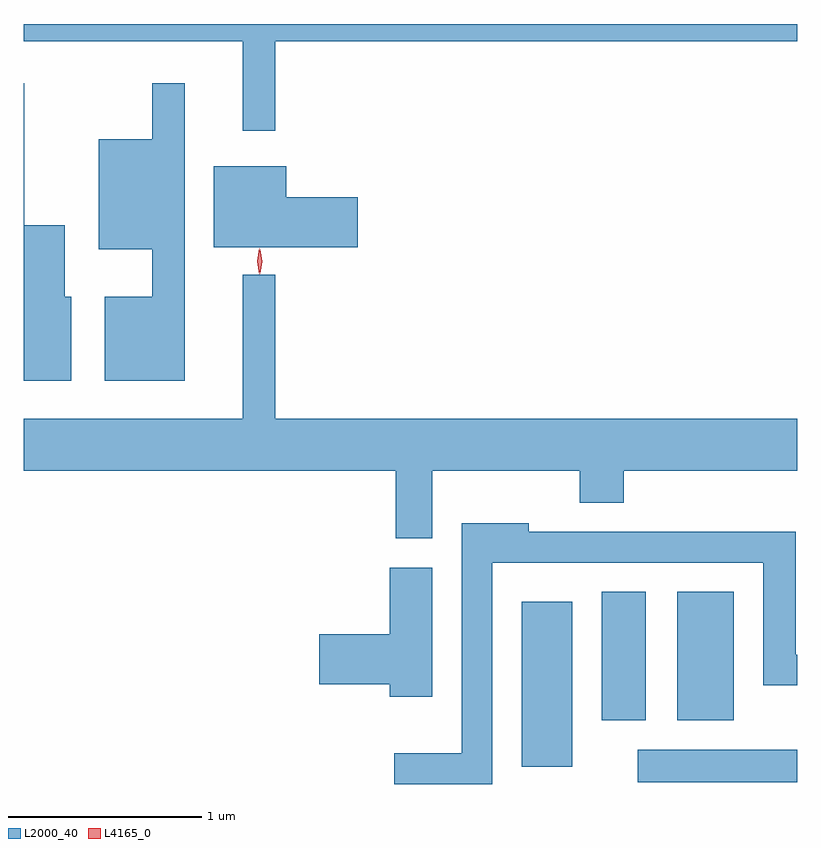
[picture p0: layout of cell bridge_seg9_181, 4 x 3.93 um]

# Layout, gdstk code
import gdstk
lib = gdstk.Library(unit=1e-6, precision=1e-09)
def R(c, l, rs):  # rectangles x0, y0, x1, y1
    for r in rs: c.add(gdstk.rectangle(r[:2], r[2:], *l))
def P(c, l, *ps):  # polygons
    for p in ps: c.add(gdstk.Polygon(p, *l))
L2000_40 = (2000, 40)
L4165_0 = (4165, 0)

bridge_seg9_181 = lib.new_cell('bridge_seg9_181')
R(bridge_seg9_181, L2000_40, [(1266.263,2032.386,1267.087,2032.554), (1265.661,2032.466,1265.924,2033.319), (1266.076,2032.706,1266.304,2033.369), (1266.466,2032.706,1266.759,2033.369)])
P(bridge_seg9_181, L2000_40, [(1264.389,2036.216),(1267.087,2036.216),(1267.087,2036.305),(1263.087,2036.305),(1263.087,2036.216),(1264.221,2036.216),(1264.221,2035.753),(1264.389,2035.753)],
  [(1263.334,2034.894),(1263.299,2034.894),(1263.299,2035.264),(1263.089,2035.264),(1263.089,2035.998),(1263.087,2035.998),(1263.087,2034.461),(1263.334,2034.461)],
  [(1263.919,2035.998),(1263.751,2035.998),(1263.751,2035.709),(1263.476,2035.709),(1263.476,2035.141),(1263.751,2035.141),(1263.751,2034.894),(1263.506,2034.894),(1263.506,2034.461),(1263.919,2034.461)],
  [(1264.814,2035.409),(1264.444,2035.409),(1264.444,2035.569),(1264.071,2035.569),(1264.071,2035.151),(1264.814,2035.151)],
  [(1265.011,2033.646),(1265.199,2033.646),(1265.199,2033.996),(1265.961,2033.996),(1265.961,2033.831),(1266.189,2033.831),(1266.189,2033.996),(1267.087,2033.996),(1267.087,2034.264),(1264.389,2034.264),(1264.389,2035.008),(1264.221,2035.008),(1264.221,2034.264),(1263.087,2034.264),(1263.087,2033.996),(1265.011,2033.996)],
  [(1265.509,2033.521),(1266.911,2033.521),(1266.911,2032.886),(1267.087,2032.886),(1267.087,2033.044),(1267.079,2033.044),(1267.079,2033.679),(1265.699,2033.679),(1265.699,2033.724),(1265.351,2033.724),(1265.351,2032.534),(1265.003,2032.534),(1265.003,2032.376),(1265.509,2032.376)],
  [(1265.199,2033.494),(1264.981,2033.494),(1264.981,2033.149),(1264.616,2033.149),(1264.616,2032.891),(1264.981,2032.891),(1264.981,2032.826),(1265.199,2032.826)])
P(bridge_seg9_181, L4165_0, [(1264.304,2035.01),(1264.295,2035.078),(1264.304,2035.145),(1264.304,2035.146),(1264.305,2035.145),(1264.314,2035.078),(1264.305,2035.01),(1264.305,2035.01)],
  [(1264.309,2035.013),(1264.3,2035.076),(1264.309,2035.14),(1264.31,2035.14),(1264.31,2035.14),(1264.32,2035.076),(1264.31,2035.013),(1264.31,2035.013)])

lib.write_gds('bridge_seg9_181.gds')
